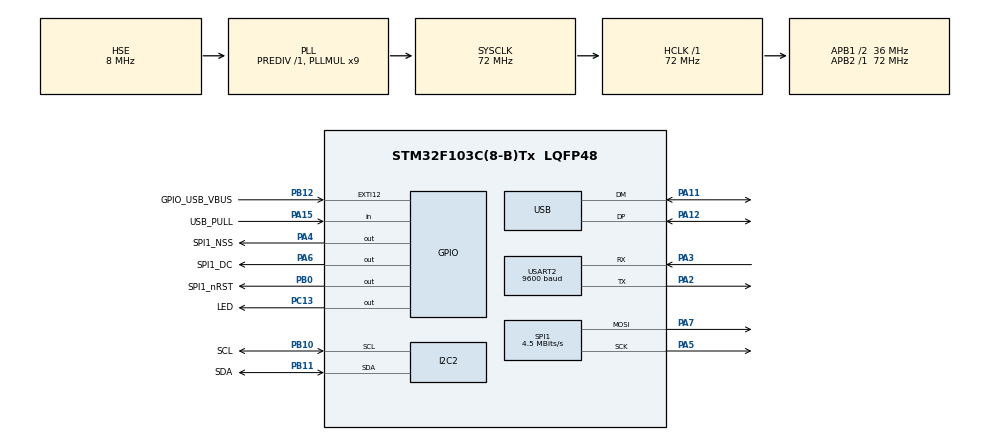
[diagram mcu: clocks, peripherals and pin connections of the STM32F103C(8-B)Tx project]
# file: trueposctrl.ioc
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Dma.I2C2_TX.0.Direction=DMA_MEMORY_TO_PERIPH
Dma.I2C2_TX.0.Instance=DMA1_Channel4
Dma.I2C2_TX.0.MemDataAlignment=DMA_MDATAALIGN_BYTE
Dma.I2C2_TX.0.MemInc=DMA_MINC_ENABLE
Dma.I2C2_TX.0.Mode=DMA_NORMAL
Dma.I2C2_TX.0.PeriphDataAlignment=DMA_PDATAALIGN_BYTE
Dma.I2C2_TX.0.PeriphInc=DMA_PINC_DISABLE
Dma.I2C2_TX.0.Priority=DMA_PRIORITY_LOW
Dma.Request0=I2C2_TX
FREERTOS.Tasks01=defaultTask,0,128,StartDefaultTask,Default,NULL
I2C2.DutyCycle=I2C_DUTYCYCLE_16_9
I2C2.I2C_Mode=I2C_Fast
Mcu.Family=STM32F1
Mcu.Name=STM32F103C(8-B)Tx
Mcu.Package=LQFP48
NVIC.DMA1_Channel4_IRQn=true\:5\:0\:false\:false\:true\:true\:true
NVIC.EXTI15_10_IRQn=true\:5\:0\:false\:false\:true\:true\:true
NVIC.I2C2_ER_IRQn=true\:0\:0\:false\:false\:true\:false\:true
NVIC.I2C2_EV_IRQn=true\:5\:0\:false\:false\:true\:true\:true
NVIC.PriorityGroup=NVIC_PRIORITYGROUP_4
NVIC.SPI1_IRQn=true\:5\:0\:false\:false\:true\:true\:true
NVIC.TIM2_IRQn=true\:0\:0\:false\:false\:true\:false\:true
NVIC.TimeBase=TIM2_IRQn
NVIC.TimeBaseIP=TIM2
NVIC.USART2_IRQn=true\:5\:0\:false\:false\:true\:true\:true
NVIC.USB_HP_CAN1_TX_IRQn=true\:5\:0\:false\:false\:true\:true\:true
NVIC.USB_LP_CAN1_RX0_IRQn=true\:5\:0\:false\:false\:true\:true\:true
PA11.Mode=Device
PA11.Signal=USB_DM
PA12.Mode=Device
PA12.Signal=USB_DP
PA13.Mode=Serial_Wire
PA13.Signal=SYS_JTMS-SWDIO
PA14.Mode=Serial_Wire
PA14.Signal=SYS_JTCK-SWCLK
PA15.GPIO_Label=USB_PULL
PA15.GPIO_PuPd=GPIO_NOPULL
PA15.Signal=GPIO_Input
PA2.Mode=Asynchronous
PA2.Signal=USART2_TX
PA3.Mode=Asynchronous
PA3.Signal=USART2_RX
PA4.GPIO_Label=SPI1_NSS
PA4.GPIO_Speed=GPIO_SPEED_FREQ_MEDIUM
PA4.PinState=GPIO_PIN_SET
PA4.Signal=GPIO_Output
PA5.Mode=TX_Only_Simplex_Unidirect_Master
PA5.Signal=SPI1_SCK
PA6.GPIO_Label=SPI1_DC
PA6.GPIO_Speed=GPIO_SPEED_FREQ_HIGH
PA6.Signal=GPIO_Output
PA7.Mode=TX_Only_Simplex_Unidirect_Master
PA7.Signal=SPI1_MOSI
PB0.GPIO_Label=SPI1_nRST
PB0.Signal=GPIO_Output
PB10.GPIO_Label=SCL
PB10.Mode=I2C
PB10.Signal=I2C2_SCL
PB11.GPIO_Label=SDA
PB11.Mode=I2C
PB11.Signal=I2C2_SDA
PB12.GPIO_Label=GPIO_USB_VBUS
PB12.GPIO_ModeDefaultEXTI=GPIO_MODE_IT_RISING_FALLING
PB12.GPIO_PuPd=GPIO_PULLDOWN
PB12.Signal=GPXTI12
PC13-TAMPER-RTC.GPIO_Label=LED
PC13-TAMPER-RTC.Signal=GPIO_Output
PC14-OSC32_IN.Mode=LSE-External-Oscillator
PC14-OSC32_IN.Signal=RCC_OSC32_IN
PC15-OSC32_OUT.Mode=LSE-External-Oscillator
PC15-OSC32_OUT.Signal=RCC_OSC32_OUT
PD0-OSC_IN.Mode=HSE-External-Oscillator
PD0-OSC_IN.Signal=RCC_OSC_IN
PD1-OSC_OUT.Mode=HSE-External-Oscillator
PD1-OSC_OUT.Signal=RCC_OSC_OUT
ProjectManager.HeapSize=0x800
ProjectManager.StackSize=0x400
ProjectManager.TargetToolchain=SW4STM32
RCC.AHBFreq_Value=72000000
RCC.APB1CLKDivider=RCC_HCLK_DIV2
RCC.APB1Freq_Value=36000000
RCC.APB1TimFreq_Value=72000000
RCC.APB2Freq_Value=72000000
RCC.APB2TimFreq_Value=72000000
RCC.HCLKFreq_Value=72000000
RCC.PLLMUL=RCC_PLL_MUL9
RCC.PLLSourceVirtual=RCC_PLLSOURCE_HSE
RCC.RCC_MCOSource=RCC_MCO1SOURCE_HSE
RCC.RTCClockSelection=RCC_RTCCLKSOURCE_HSE_DIV128
RCC.SYSCLKFreq_VALUE=72000000
RCC.SYSCLKSource=RCC_SYSCLKSOURCE_PLLCLK
RCC.USBFreq_Value=48000000
RCC.USBPrescaler=RCC_USBCLKSOURCE_PLL_DIV1_5
SPI1.BaudRatePrescaler=SPI_BAUDRATEPRESCALER_16
SPI1.CLKPhase=SPI_PHASE_2EDGE
SPI1.CLKPolarity=SPI_POLARITY_HIGH
SPI1.CalculateBaudRate=4.5 MBits/s
SPI1.Direction=SPI_DIRECTION_2LINES
SPI1.Mode=SPI_MODE_MASTER
SPI1.VirtualType=VM_MASTER
USART2.BaudRate=9600
USART2.VirtualMode=VM_ASYNC
USB_DEVICE.CLASS_NAME_FS=CDC
USB_DEVICE.VirtualMode=Cdc
USB_DEVICE.VirtualModeFS=Cdc_FS
VP_FREERTOS_VS_ENABLE.Mode=Enabled
VP_RTC_No_RTC_Output.Mode=RTC_OUT_NO
VP_RTC_VS_RTC_Activate.Mode=RTC_Enabled
VP_RTC_VS_RTC_Calendar.Mode=RTC_Calendar
VP_SYS_VS_tim2.Mode=TIM2
VP_USB_DEVICE_VS_USB_DEVICE_CDC_FS.Mode=CDC_FS
board=trueposctrl

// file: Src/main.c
/**
  ******************************************************************************
  * File Name          : main.c
  * Description        : Main program body
  ******************************************************************************
  * This notice applies to any and all portions of this file
  * that are not between comment pairs USER CODE BEGIN and
  * USER CODE END. Other portions of this file, whether
  * inserted by the user or by software development tools
  * are owned by their respective copyright owners.
  *
  * Copyright (c) 2017 STMicroelectronics International N.V.
  * All rights reserved.
  *
  * Redistribution and use in source and binary forms, with or without
  * modification, are permitted, provided that the following conditions are met:
  *
  * 1. Redistribution of source code must retain the above copyright notice,
  *    this list of conditions and the following disclaimer.
  * 2. Redistributions in binary form must reproduce the above copyright notice,
  *    this list of conditions and the following disclaimer in the documentation
  *    and/or other materials provided with the distribution.
  * 3. Neither the name of STMicroelectronics nor the names of other
  *    contributors to this software may be used to endorse or promote products
  *    derived from this software without specific written permission.
  * 4. This software, including modifications and/or derivative works of this
  *    software, must execute solely and exclusively on microcontroller or
  *    microprocessor devices manufactured by or for STMicroelectronics.
  * 5. Redistribution and use of this software other than as permitted under
  *    this license is void and will automatically terminate your rights under
  *    this license.
  *
  * THIS SOFTWARE IS PROVIDED BY STMICROELECTRONICS AND CONTRIBUTORS "AS IS"
  * AND ANY EXPRESS, IMPLIED OR STATUTORY WARRANTIES, INCLUDING, BUT NOT
  * LIMITED TO, THE IMPLIED WARRANTIES OF MERCHANTABILITY, FITNESS FOR A
  * PARTICULAR PURPOSE AND NON-INFRINGEMENT OF THIRD PARTY INTELLECTUAL PROPERTY
  * RIGHTS ARE DISCLAIMED TO THE FULLEST EXTENT PERMITTED BY LAW. IN NO EVENT
  * SHALL STMICROELECTRONICS OR CONTRIBUTORS BE LIABLE FOR ANY DIRECT, INDIRECT,
  * INCIDENTAL, SPECIAL, EXEMPLARY, OR CONSEQUENTIAL DAMAGES (INCLUDING, BUT NOT
  * LIMITED TO, PROCUREMENT OF SUBSTITUTE GOODS OR SERVICES; LOSS OF USE, DATA,
  * OR PROFITS; OR BUSINESS INTERRUPTION) HOWEVER CAUSED AND ON ANY THEORY OF
  * LIABILITY, WHETHER IN CONTRACT, STRICT LIABILITY, OR TORT (INCLUDING
  * NEGLIGENCE OR OTHERWISE) ARISING IN ANY WAY OUT OF THE USE OF THIS SOFTWARE,
  * EVEN IF ADVISED OF THE POSSIBILITY OF SUCH DAMAGE.
  *
  ******************************************************************************
  */

#include "main.h"
#include "stm32f1xx_hal.h"
#include "cmsis_os.h"
#include "usb_device.h"

/* USER CODE BEGIN Includes */
#include "truepos.h"
#include "stdio.h"
#include "stddef.h"
#include "uart_rx.h"
#include "usbd_cdc_if.h"
#include "displayTask.h"
/* USER CODE END Includes */

I2C_HandleTypeDef hi2c2;
DMA_HandleTypeDef hdma_i2c2_tx;

RTC_HandleTypeDef hrtc;

SPI_HandleTypeDef hspi1;

UART_HandleTypeDef huart2;

osThreadId defaultTaskHandle;

/* USER CODE BEGIN PV */
/* Private variables ---------------------------------------------------------*/

/* USER CODE END PV */

void SystemClock_Config(void);
static void MX_GPIO_Init(void);
static void MX_DMA_Init(void);
static void MX_RTC_Init(void);
static void MX_I2C2_Init(void);
static void MX_USART2_UART_Init(void);
static void MX_SPI1_Init(void);
void StartDefaultTask(void const * argument);

/* USER CODE BEGIN PFP */
/* Private function prototypes -----------------------------------------------*/
//extern void initialise_monitor_handles();
/* USER CODE END PFP */

/* USER CODE BEGIN 0 */
void HAL_GPIO_EXTI_Callback(uint16_t GPIO_Pin) {
	GPIO_TypeDef *GPIOx=USB_PULL_GPIO_Port;
	uint32_t position = 15;
	uint32_t iocurrent = USB_PULL_Pin;
	__IO uint32_t *configregister = (iocurrent < GPIO_PIN_8) ? &GPIOx->CRL     : &GPIOx->CRH;
	uint32_t registeroffset = (iocurrent < GPIO_PIN_8) ? (position << 2U) : ((position - 8U) << 2U);
	uint16_t usbDet = GPIO_USB_VBUS_GPIO_Port->IDR & GPIO_USB_VBUS_Pin;
	uint32_t newConfig;
	if(usbDet){
		HAL_GPIO_WritePin(USB_PULL_GPIO_Port, USB_PULL_Pin, GPIO_PIN_SET);
		newConfig = GPIO_CRL_MODE0_1; /*push-pull, 2 MHz */
		MODIFY_REG((*configregister),
				((GPIO_CRL_MODE0 | GPIO_CRL_CNF0) << registeroffset ),
				(newConfig << registeroffset));
	} else {
		newConfig = GPIO_CRL_CNF0_1; /*input pull down (assuming ODR is still 0) */
		HAL_GPIO_WritePin(USB_PULL_GPIO_Port, USB_PULL_Pin, GPIO_PIN_RESET);
	}
}
/* USER CODE END 0 */

int main(void)
{

  /* MCU Configuration----------------------------------------------------------*/

  /* Reset of all peripherals, Initializes the Flash interface and the Systick. */
  HAL_Init();

  /* Configure the system clock */
  SystemClock_Config();

  /* USER CODE BEGIN SysInit */
  //initialise_monitor_handles();
  //puts("Hello world\n");

  /* USER CODE END SysInit */

  /* Initialize all configured peripherals */
  MX_GPIO_Init();
  MX_DMA_Init();
  MX_RTC_Init();
  MX_I2C2_Init();
  MX_USART2_UART_Init();
  MX_SPI1_Init();

  /* Create the thread(s) */
  /* definition and creation of defaultTask */
  osThreadDef(defaultTask, StartDefaultTask, osPriorityNormal, 0, 128);
  defaultTaskHandle = osThreadCreate(osThread(defaultTask), NULL);

  /* USER CODE BEGIN RTOS_THREADS */
  /* add threads, ... */
  osThreadDef(displayTask, StartDisplayTask, osPriorityBelowNormal, 0, 128);
  displayTaskHandle = osThreadCreate(osThread(displayTask), NULL);
  /* USER CODE END RTOS_THREADS */

  /* USER CODE BEGIN RTOS_QUEUES */
  uartRxInit(2, &TP_UART, 256);
  TruePosInit(&TP_UART, TP_UART_ID);
  /* USER CODE END RTOS_QUEUES */

  /* Start scheduler */
  osKernelStart();

  /* We should never get here as control is now taken by the scheduler */

  /* Infinite loop */

}

/** System Clock Configuration
*/
void SystemClock_Config(void)
{

  RCC_OscInitTypeDef RCC_OscInitStruct;
  RCC_ClkInitTypeDef RCC_ClkInitStruct;
  RCC_PeriphCLKInitTypeDef PeriphClkInit;

    /**Initializes the CPU, AHB and APB busses clocks
    */
  RCC_OscInitStruct.OscillatorType = RCC_OSCILLATORTYPE_HSE;
  RCC_OscInitStruct.HSEState = RCC_HSE_ON;
  RCC_OscInitStruct.HSEPredivValue = RCC_HSE_PREDIV_DIV1;
  RCC_OscInitStruct.HSIState = RCC_HSI_ON;
  RCC_OscInitStruct.PLL.PLLState = RCC_PLL_ON;
  RCC_OscInitStruct.PLL.PLLSource = RCC_PLLSOURCE_HSE;
  RCC_OscInitStruct.PLL.PLLMUL = RCC_PLL_MUL9;
  if (HAL_RCC_OscConfig(&RCC_OscInitStruct) != HAL_OK)
  {
    _Error_Handler(__FILE__, __LINE__);
  }

    /**Initializes the CPU, AHB and APB busses clocks
    */
  RCC_ClkInitStruct.ClockType = RCC_CLOCKTYPE_HCLK|RCC_CLOCKTYPE_SYSCLK
                              |RCC_CLOCKTYPE_PCLK1|RCC_CLOCKTYPE_PCLK2;
  RCC_ClkInitStruct.SYSCLKSource = RCC_SYSCLKSOURCE_PLLCLK;
  RCC_ClkInitStruct.AHBCLKDivider = RCC_SYSCLK_DIV1;
  RCC_ClkInitStruct.APB1CLKDivider = RCC_HCLK_DIV2;
  RCC_ClkInitStruct.APB2CLKDivider = RCC_HCLK_DIV1;

  if (HAL_RCC_ClockConfig(&RCC_ClkInitStruct, FLASH_LATENCY_2) != HAL_OK)
  {
    _Error_Handler(__FILE__, __LINE__);
  }

  PeriphClkInit.PeriphClockSelection = RCC_PERIPHCLK_RTC|RCC_PERIPHCLK_USB;
  PeriphClkInit.RTCClockSelection = RCC_RTCCLKSOURCE_HSE_DIV128;
  PeriphClkInit.UsbClockSelection = RCC_USBCLKSOURCE_PLL_DIV1_5;
  if (HAL_RCCEx_PeriphCLKConfig(&PeriphClkInit) != HAL_OK)
  {
    _Error_Handler(__FILE__, __LINE__);
  }

    /**Configure the Systick interrupt time
    */
  HAL_SYSTICK_Config(HAL_RCC_GetHCLKFreq()/1000);

    /**Configure the Systick
    */
  HAL_SYSTICK_CLKSourceConfig(SYSTICK_CLKSOURCE_HCLK);

  /* SysTick_IRQn interrupt configuration */
  HAL_NVIC_SetPriority(SysTick_IRQn, 15, 0);
}

/* I2C2 init function */
static void MX_I2C2_Init(void)
{

  hi2c2.Instance = I2C2;
  hi2c2.Init.ClockSpeed = 400000;
  hi2c2.Init.DutyCycle = I2C_DUTYCYCLE_16_9;
  hi2c2.Init.OwnAddress1 = 0;
  hi2c2.Init.AddressingMode = I2C_ADDRESSINGMODE_7BIT;
  hi2c2.Init.DualAddressMode = I2C_DUALADDRESS_DISABLE;
  hi2c2.Init.OwnAddress2 = 0;
  hi2c2.Init.GeneralCallMode = I2C_GENERALCALL_DISABLE;
  hi2c2.Init.NoStretchMode = I2C_NOSTRETCH_DISABLE;
  if (HAL_I2C_Init(&hi2c2) != HAL_OK)
  {
    _Error_Handler(__FILE__, __LINE__);
  }

}

/* RTC init function */
static void MX_RTC_Init(void)
{

  RTC_TimeTypeDef sTime;
  RTC_DateTypeDef DateToUpdate;

    /**Initialize RTC Only
    */
  hrtc.Instance = RTC;
  hrtc.Init.AsynchPrediv = RTC_AUTO_1_SECOND;
  hrtc.Init.OutPut = RTC_OUTPUTSOURCE_NONE;
  if (HAL_RTC_Init(&hrtc) != HAL_OK)
  {
    _Error_Handler(__FILE__, __LINE__);
  }

    /**Initialize RTC and set the Time and Date
    */
  if(HAL_RTCEx_BKUPRead(&hrtc, RTC_BKP_DR1) != 0x32F2){
  sTime.Hours = 0x1;
  sTime.Minutes = 0x0;
  sTime.Seconds = 0x0;

  if (HAL_RTC_SetTime(&hrtc, &sTime, RTC_FORMAT_BCD) != HAL_OK)
  {
    _Error_Handler(__FILE__, __LINE__);
  }

  DateToUpdate.WeekDay = RTC_WEEKDAY_MONDAY;
  DateToUpdate.Month = RTC_MONTH_JANUARY;
  DateToUpdate.Date = 0x1;
  DateToUpdate.Year = 0x0;

  if (HAL_RTC_SetDate(&hrtc, &DateToUpdate, RTC_FORMAT_BCD) != HAL_OK)
  {
    _Error_Handler(__FILE__, __LINE__);
  }

    HAL_RTCEx_BKUPWrite(&hrtc,RTC_BKP_DR1,0x32F2);
  }

}

/* SPI1 init function */
static void MX_SPI1_Init(void)
{

  /* SPI1 parameter configuration*/
  hspi1.Instance = SPI1;
  hspi1.Init.Mode = SPI_MODE_MASTER;
  hspi1.Init.Direction = SPI_DIRECTION_2LINES;
  hspi1.Init.DataSize = SPI_DATASIZE_8BIT;
  hspi1.Init.CLKPolarity = SPI_POLARITY_HIGH;
  hspi1.Init.CLKPhase = SPI_PHASE_2EDGE;
  hspi1.Init.NSS = SPI_NSS_SOFT;
  hspi1.Init.BaudRatePrescaler = SPI_BAUDRATEPRESCALER_16;
  hspi1.Init.FirstBit = SPI_FIRSTBIT_MSB;
  hspi1.Init.TIMode = SPI_TIMODE_DISABLE;
  hspi1.Init.CRCCalculation = SPI_CRCCALCULATION_DISABLE;
  hspi1.Init.CRCPolynomial = 10;
  if (HAL_SPI_Init(&hspi1) != HAL_OK)
  {
    _Error_Handler(__FILE__, __LINE__);
  }

}

/* USART2 init function */
static void MX_USART2_UART_Init(void)
{

  huart2.Instance = USART2;
  huart2.Init.BaudRate = 9600;
  huart2.Init.WordLength = UART_WORDLENGTH_8B;
  huart2.Init.StopBits = UART_STOPBITS_1;
  huart2.Init.Parity = UART_PARITY_NONE;
  huart2.Init.Mode = UART_MODE_TX_RX;
  huart2.Init.HwFlowCtl = UART_HWCONTROL_NONE;
  huart2.Init.OverSampling = UART_OVERSAMPLING_16;
  if (HAL_UART_Init(&huart2) != HAL_OK)
  {
    _Error_Handler(__FILE__, __LINE__);
  }

}

static void MX_DMA_Init(void)
{
  /* DMA controller clock enable */
  __HAL_RCC_DMA1_CLK_ENABLE();

  /* DMA interrupt init */
  /* DMA1_Channel4_IRQn interrupt configuration */
  HAL_NVIC_SetPriority(DMA1_Channel4_IRQn, 5, 0);
  HAL_NVIC_EnableIRQ(DMA1_Channel4_IRQn);

}

/** Configure pins as
        * Analog
        * Input
        * Output
        * EVENT_OUT
        * EXTI
        * Free pins are configured automatically as Analog (this feature is enabled through
        * the Code Generation settings)
*/
static void MX_GPIO_Init(void)
{

  GPIO_InitTypeDef GPIO_InitStruct;

  /* GPIO Ports Clock Enable */
  __HAL_RCC_GPIOC_CLK_ENABLE();
  __HAL_RCC_GPIOD_CLK_ENABLE();
  __HAL_RCC_GPIOA_CLK_ENABLE();
  __HAL_RCC_GPIOB_CLK_ENABLE();

  /*Configure GPIO pin Output Level */
  HAL_GPIO_WritePin(LED_GPIO_Port, LED_Pin, GPIO_PIN_RESET);

  /*Configure GPIO pin Output Level */
  HAL_GPIO_WritePin(SPI1_NSS_GPIO_Port, SPI1_NSS_Pin, GPIO_PIN_SET);

  /*Configure GPIO pin Output Level */
  HAL_GPIO_WritePin(SPI1_DC_GPIO_Port, SPI1_DC_Pin, GPIO_PIN_RESET);

  /*Configure GPIO pin Output Level */
  HAL_GPIO_WritePin(SPI1_nRST_GPIO_Port, SPI1_nRST_Pin, GPIO_PIN_RESET);

  /*Configure GPIO pin : LED_Pin */
  GPIO_InitStruct.Pin = LED_Pin;
  GPIO_InitStruct.Mode = GPIO_MODE_OUTPUT_PP;
  GPIO_InitStruct.Speed = GPIO_SPEED_FREQ_LOW;
  HAL_GPIO_Init(LED_GPIO_Port, &GPIO_InitStruct);

  /*Configure GPIO pins : PA0 PA1 PA8 PA9
                           PA10 */
  GPIO_InitStruct.Pin = GPIO_PIN_0|GPIO_PIN_1|GPIO_PIN_8|GPIO_PIN_9
                          |GPIO_PIN_10;
  GPIO_InitStruct.Mode = GPIO_MODE_ANALOG;
  HAL_GPIO_Init(GPIOA, &GPIO_InitStruct);

  /*Configure GPIO pin : SPI1_NSS_Pin */
  GPIO_InitStruct.Pin = SPI1_NSS_Pin;
  GPIO_InitStruct.Mode = GPIO_MODE_OUTPUT_PP;
  GPIO_InitStruct.Speed = GPIO_SPEED_FREQ_MEDIUM;
  HAL_GPIO_Init(SPI1_NSS_GPIO_Port, &GPIO_InitStruct);

  /*Configure GPIO pin : SPI1_DC_Pin */
  GPIO_InitStruct.Pin = SPI1_DC_Pin;
  GPIO_InitStruct.Mode = GPIO_MODE_OUTPUT_PP;
  GPIO_InitStruct.Speed = GPIO_SPEED_FREQ_HIGH;
  HAL_GPIO_Init(SPI1_DC_GPIO_Port, &GPIO_InitStruct);

  /*Configure GPIO pin : SPI1_nRST_Pin */
  GPIO_InitStruct.Pin = SPI1_nRST_Pin;
  GPIO_InitStruct.Mode = GPIO_MODE_OUTPUT_PP;
  GPIO_InitStruct.Speed = GPIO_SPEED_FREQ_LOW;
  HAL_GPIO_Init(SPI1_nRST_GPIO_Port, &GPIO_InitStruct);

  /*Configure GPIO pins : PB1 PB2 PB13 PB14
                           PB15 PB3 PB4 PB5
                           PB6 PB7 PB8 PB9 */
  GPIO_InitStruct.Pin = GPIO_PIN_1|GPIO_PIN_2|GPIO_PIN_13|GPIO_PIN_14
                          |GPIO_PIN_15|GPIO_PIN_3|GPIO_PIN_4|GPIO_PIN_5
                          |GPIO_PIN_6|GPIO_PIN_7|GPIO_PIN_8|GPIO_PIN_9;
  GPIO_InitStruct.Mode = GPIO_MODE_ANALOG;
  HAL_GPIO_Init(GPIOB, &GPIO_InitStruct);

  /*Configure GPIO pin : GPIO_USB_VBUS_Pin */
  GPIO_InitStruct.Pin = GPIO_USB_VBUS_Pin;
  GPIO_InitStruct.Mode = GPIO_MODE_IT_RISING_FALLING;
  GPIO_InitStruct.Pull = GPIO_PULLDOWN;
  HAL_GPIO_Init(GPIO_USB_VBUS_GPIO_Port, &GPIO_InitStruct);

  /*Configure GPIO pin : USB_PULL_Pin */
  GPIO_InitStruct.Pin = USB_PULL_Pin;
  GPIO_InitStruct.Mode = GPIO_MODE_INPUT;
  GPIO_InitStruct.Pull = GPIO_NOPULL;
  HAL_GPIO_Init(USB_PULL_GPIO_Port, &GPIO_InitStruct);

  /* EXTI interrupt init*/
  HAL_NVIC_SetPriority(EXTI15_10_IRQn, 5, 0);
  HAL_NVIC_EnableIRQ(EXTI15_10_IRQn);

}

/* StartDefaultTask function */
void StartDefaultTask(void const * argument)
{
  /* init code for USB_DEVICE */
  MX_USB_DEVICE_Init();

  /* USER CODE BEGIN 5 */
  // Check Vbus
  HAL_GPIO_EXTI_Callback(15);
  // Init display
	/* Update screen, send changes to LCD */
	/* Infinite loop */
	for(;;)
	{
		TruePosReadBuffer();
		//ledState = !ledState;
		//HAL_GPIO_WritePin(LED_GPIO_Port, LED_Pin, ledState);
		osDelay(50);
	}
  /* USER CODE END 5 */
}

void HAL_TIM_PeriodElapsedCallback(TIM_HandleTypeDef *htim)
{
  if (htim->Instance == TIM2) {
    HAL_IncTick();
  }
}

void _Error_Handler(char * file, int line)
{
  while(1)
  {
  }
}

/************************ (C) COPYRIGHT STMicroelectronics *****END OF FILE****/
